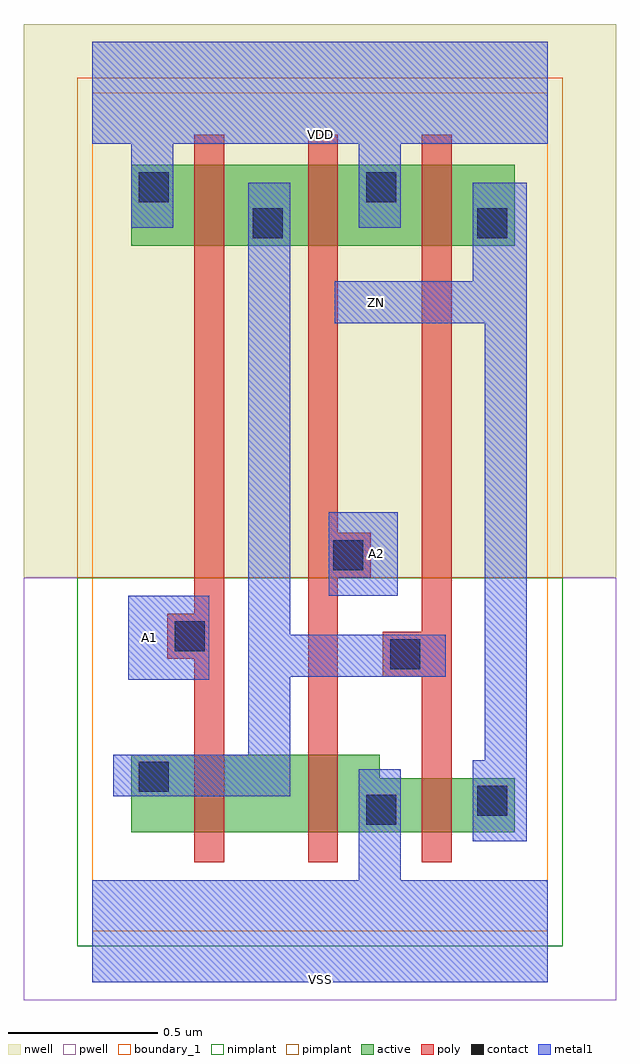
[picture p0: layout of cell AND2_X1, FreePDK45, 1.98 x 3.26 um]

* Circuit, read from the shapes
.subckt AND2_X1 A1 A2 VDD VSS ZN
M1 n1 A1 n2 VSUBS nfet w=0.26u l=0.1u
M2 VSS A2 n1 VSUBS nfet w=0.26u l=0.1u
M3 ZN n2 VSS VSUBS nfet w=0.18u l=0.1u
M4 n2 A1 VDD n3 pfet w=0.27u l=0.1u
M5 VDD A2 n2 n3 pfet w=0.27u l=0.1u
M6 ZN n2 VDD n3 pfet w=0.27u l=0.1u
.ends

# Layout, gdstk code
import gdstk
lib = gdstk.Library(unit=1e-6, precision=1e-09)
def R(c, l, rs):  # rectangles x0, y0, x1, y1
    for r in rs: c.add(gdstk.rectangle(r[:2], r[2:], *l))
def P(c, l, *ps):  # polygons
    for p in ps: c.add(gdstk.Polygon(p, *l))
active = (1, 0)
pwell = (2, 0)
nwell = (3, 0)
nimplant = (4, 0)
pimplant = (5, 0)
poly = (9, 0)
contact = (10, 0)
metal1 = (11, 0)
boundary_1 = (235, 1)

and2_x1 = lib.new_cell('AND2_X1')
R(and2_x1, active, [(0.13,2.29,1.41,2.56)])
P(and2_x1, active, [(0.13,0.33),(1.41,0.33),(1.41,0.51),(0.96,0.51),(0.96,0.59),(0.13,0.59)])
R(and2_x1, pwell, [(-0.23,-0.23,1.75,1.18)])
R(and2_x1, nwell, [(-0.23,1.18,1.75,3.03)])
R(and2_x1, nimplant, [(-0.05,-0.05,1.57,1.18)])
R(and2_x1, pimplant, [(-0.05,1.18,1.57,2.85)])
P(and2_x1, poly, [(0.97,0.85),(1.1,0.85),(1.1,0.23),(1.2,0.23),(1.2,2.66),(1.1,2.66),(1.1,1),(0.97,1)],
  [(0.72,0.23),(0.82,0.23),(0.82,1.18),(0.93,1.18),(0.93,1.33),(0.82,1.33),(0.82,2.66),(0.72,2.66)],
  [(0.25,0.91),(0.34,0.91),(0.34,0.23),(0.44,0.23),(0.44,2.66),(0.34,2.66),(0.34,1.06),(0.25,1.06)])
R(and2_x1, contact, [(0.915,0.355,1.015,0.455), (1.285,0.385,1.385,0.485), (0.155,0.465,0.255,0.565), (0.995,0.875,1.095,0.975), (0.275,0.935,0.375,1.035), (0.805,1.205,0.905,1.305), (0.535,2.315,0.635,2.415), (1.285,2.315,1.385,2.415), (0.155,2.435,0.255,2.535), (0.915,2.435,1.015,2.535)])
R(and2_x1, metal1, [(0.12,0.84,0.39,1.12), (0.12,0.84,0.39,1.12), (0.79,1.12,1.02,1.4), (0.79,1.12,1.02,1.4)])
P(and2_x1, metal1, [(0.81,2.03),(1.31,2.03),(1.31,0.57),(1.27,0.57),(1.27,0.3),(1.45,0.3),(1.45,2.5),(1.27,2.5),(1.27,2.17),(0.81,2.17)],
  [(0,-0.17),(1.52,-0.17),(1.52,0.17),(1.03,0.17),(1.03,0.54),(0.89,0.54),(0.89,0.17),(0,0.17)],
  [(0,2.63),(0.13,2.63),(0.13,2.35),(0.27,2.35),(0.27,2.63),(0.89,2.63),(0.89,2.35),(1.03,2.35),(1.03,2.63),(1.52,2.63),(1.52,2.97),(0,2.97)],
  [(0,2.63),(0.13,2.63),(0.13,2.35),(0.27,2.35),(0.27,2.63),(0.89,2.63),(0.89,2.35),(1.03,2.35),(1.03,2.63),(1.52,2.63),(1.52,2.97),(0,2.97)],
  [(0,-0.17),(1.52,-0.17),(1.52,0.17),(1.03,0.17),(1.03,0.54),(0.89,0.54),(0.89,0.17),(0,0.17)],
  [(0.81,2.03),(1.31,2.03),(1.31,0.57),(1.27,0.57),(1.27,0.3),(1.45,0.3),(1.45,2.5),(1.27,2.5),(1.27,2.17),(0.81,2.17)],
  [(0.07,0.45),(0.66,0.45),(0.66,0.85),(1.18,0.85),(1.18,0.99),(0.66,0.99),(0.66,2.5),(0.52,2.5),(0.52,0.59),(0.07,0.59)])
R(and2_x1, boundary_1, [(0,0,1.52,2.8)])
and2_x1.add(gdstk.Label('ZN', (0.95,2.1), layer=11, texttype=0))
and2_x1.add(gdstk.Label('VSS', (0.76,-0.16), layer=11, texttype=0))
and2_x1.add(gdstk.Label('VDD', (0.76,2.66), layer=11, texttype=0))
and2_x1.add(gdstk.Label('A2', (0.95,1.26), layer=11, texttype=0))
and2_x1.add(gdstk.Label('A1', (0.19,0.98), layer=11, texttype=0))

lib.write_gds('AND2_X1.gds')
